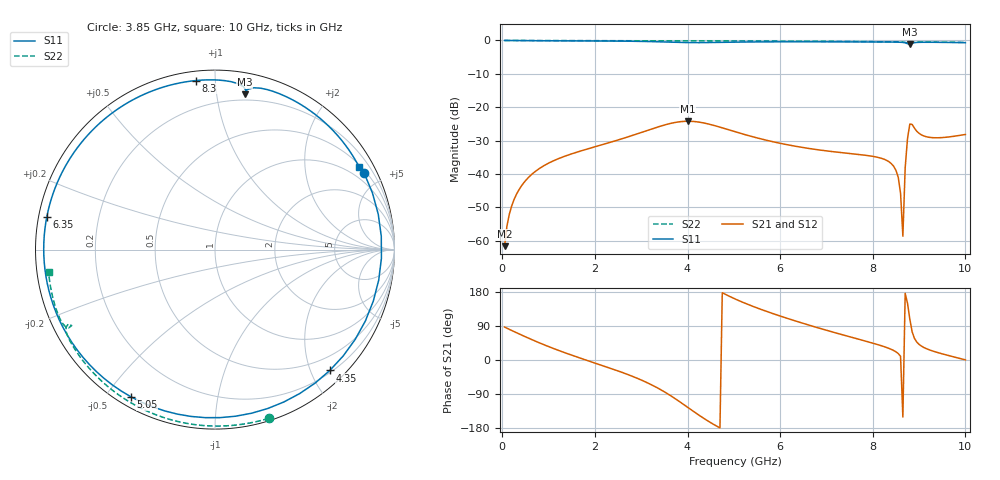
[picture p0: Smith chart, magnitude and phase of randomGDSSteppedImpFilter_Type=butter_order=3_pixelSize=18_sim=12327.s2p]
! freq	dB(S11)	phase(S11)	dB(S12)	phase(S12)
!  dB(S21)	phase(S21)	dB(S22)	phase(S22)
!S-par simulation data
#  GHz  S  DB  R 50
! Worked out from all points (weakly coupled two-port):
!   200 points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, 50 MHz to 10 GHz, reference 50 ohm
!   highest |S21| = -24.20 dB at 4 GHz (marker M1); lowest = -61.6 dB at 50 MHz (marker M2)
!   lowest |S11| = -1.1 dB at 8.8 GHz (marker M3), VSWR 15.83, Z = 7.72 + j59.8 ohm
!   |S11| at or under -10 dB: nowhere
!   |S22| runs from -0.9 to 0.0 dB; largest |S21 - S12| = 0
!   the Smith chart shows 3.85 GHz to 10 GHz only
!   S11 on the Smith chart (normalised r, x): 3.85 GHz: 0.60, +4.03; 4.35 GHz: 0.24, -2.31; 5.05 GHz: 0.04, -0.58; 6.35 GHz: 0.02, +0.10; 8.3 GHz: 0.05, +0.89; 10 GHz: 0.58, +3.69
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0.05  -0.00 -4.9  -61.63 86.9  -61.63 86.9  -0.00 -1.0
0.3  -0.04 -28.9  -46.25 72.4  -46.25 72.4  -0.01 -5.9
0.85  -0.09 -77.6  -37.92 42.8  -37.92 42.8  -0.02 -16.7
1.75  -0.14 -142.8  -32.87 2.2  -32.87 2.2  -0.05 -34.0
2.65  -0.21 156.9  -29.17 -35.5  -29.17 -35.5  -0.07 -50.9
3.4  -0.41 88.0  -25.75 -76.9  -25.75 -76.9  -0.10 -64.5
3.85  -0.59 27.4  -24.32 -111.7  -24.32 -111.7  -0.12 -72.4
4  -0.64 4.6  -24.20 -124.6  -24.20 -124.6  -0.12 -75.0
4.35  -0.64 -46.5  -24.71 -153.9  -24.71 -153.9  -0.13 -80.9
4.65  -0.58 -82.9  -25.77 -176.0  -25.77 -176.0  -0.14 -86.0
5.05  -0.50 -119.8  -27.44 159.8  -27.44 159.8  -0.15 -92.7
5.6  -0.43 -155.7  -29.54 132.9  -29.54 132.9  -0.17 -101.7
6.35  -0.40 168.9  -31.74 102.2  -31.74 102.2  -0.21 -113.8
6.7  -0.40 154.9  -32.52 89.2  -32.52 89.2  -0.24 -119.4
8.3  -0.46 96.3  -35.93 32.9  -35.93 32.9  -0.38 -144.9
8.35  -0.47 94.4  -36.33 30.6  -36.33 30.6  -0.38 -145.8
8.55  -0.51 86.7  -41.01 17.1  -41.01 17.1  -0.42 -149.3
8.6  -0.54 84.6  -45.75 9.8  -45.75 9.8  -0.44 -150.3
8.65  -0.59 82.4  -58.64 -150.3  -58.64 -150.3  -0.48 -151.3
8.7  -0.70 80.2  -38.07 175.9  -38.07 175.9  -0.57 -152.4
8.8  -1.10 79.2  -25.04 107.9  -25.04 107.9  -0.88 -152.1
10  -0.67 29.7  -28.16 0.3  -28.16 0.3  -0.58 -172.3
